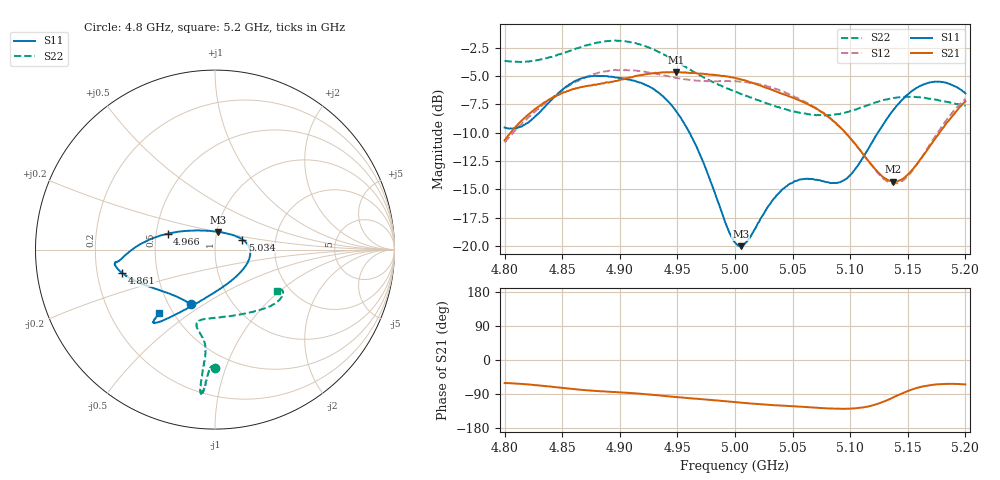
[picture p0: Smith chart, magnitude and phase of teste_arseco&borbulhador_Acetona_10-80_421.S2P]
! Network Analyzer HP8722D
! Hewlett-Packard
! Data name: Linha & Wilkinson
! Saver's name: Rodrigo Anjos
! Comments: Teste da utilização de aquisição
! continua pelo VNA HP8722D
! Time and date: 17/4/2025 17:52
!  Frequency  S11  S21  S12  S22
# HZ  S  MA R 50
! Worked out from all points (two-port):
!   401 points, 4.8 GHz to 5.2 GHz, reference 50 ohm
!   highest |S21| = -4.63 dB at 4.949 GHz (marker M1); lowest = -14.3 dB at 5.137 GHz (marker M2)
!   |S21| within 3 dB of the highest: 4.83 GHz to 5.066 GHz (235.9 MHz wide, 4.77 % of centre); 5.19612 GHz to end of sweep
!   lowest |S11| = -20.0 dB at 5.005 GHz (marker M3), VSWR 1.22, Z = 50.6 + j10.1 ohm
!   |S11| at or under -10 dB: 4.961 GHz to 5.124 GHz (163.3 MHz wide, 3.24 % of centre)
!   |S22| runs from -8.5 to -1.8 dB; largest |S21 - S12| = 0.88
!   S11 on the Smith chart (normalised r, x): 4.8 GHz: 0.64, -0.44; 4.861 GHz: 0.31, -0.11; 4.966 GHz: 0.57, +0.11; 5.034 GHz: 1.35, +0.16; 5.2 GHz: 0.42, -0.39
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4.8e9  0.3337 -113.6  0.2929 -60.9  0.2871 -175.1  0.6572 -90.0
4.819e9  0.3481 -133.8  0.3747 -64.1  0.3623 -173.8  0.6524 -91.7
4.861e9  0.535 -165.9  0.4937 -76.9  0.5277 -176.9  0.7394 -94.0
4.867e9  0.5506 -168.3  0.5032 -78.9  0.547 -178.1  0.7579 -94.1
4.898e9  0.5541 -172.8  0.537 -84.9  0.5965 175.6  0.8065 -95.4
4.934e9  0.4747 -178.9  0.5824 -93.6  0.5737 171.8  0.717 -96.0
4.949e9  0.3931 173.8  0.5866 -97.6  0.5518 172.1  0.6522 -95.7
4.966e9  0.2784 161.5  0.5792 -102.0  0.5371 173.7  0.581 -95.2
5e9  0.1038 98.7  0.5526 -111.4  0.5341 176.1  0.4804 -99.4
5.005e9  0.09998 81.0  0.5444 -112.5  0.5317 176.1  0.4693 -100.6
5.013e9  0.1091 56.5  0.528 -114.6  0.5254 175.7  0.4531 -102.2
5.034e9  0.1626 20.2  0.4841 -119.4  0.496 174.7  0.4163 -103.7
5.05e9  0.1906 4.1  0.4521 -121.9  0.4612 174.0  0.3943 -99.6
5.067e9  0.1977 -14.2  0.4134 -125.2  0.4166 173.6  0.3806 -90.5
5.085e9  0.1898 -42.5  0.3575 -128.4  0.3568 173.6  0.3808 -77.0
5.097e9  0.1988 -67.1  0.3116 -128.7  0.312 174.7  0.3905 -67.1
5.134e9  0.3772 -117.0  0.1944 -103.6  0.1909 -156.4  0.4468 -42.9
5.137e9  0.396 -118.9  0.1923 -99.4  0.1893 -151.6  0.4503 -41.7
5.15e9  0.467 -124.7  0.2068 -82.0  0.2038 -131.6  0.4558 -36.8
5.168e9  0.5255 -129.1  0.2707 -67.2  0.2747 -113.4  0.4473 -32.4
5.184e9  0.5244 -130.7  0.3515 -63.1  0.3627 -107.3  0.433 -31.1
5.2e9  0.4722 -131.1  0.4356 -64.5  0.4475 -106.6  0.416 -33.5
